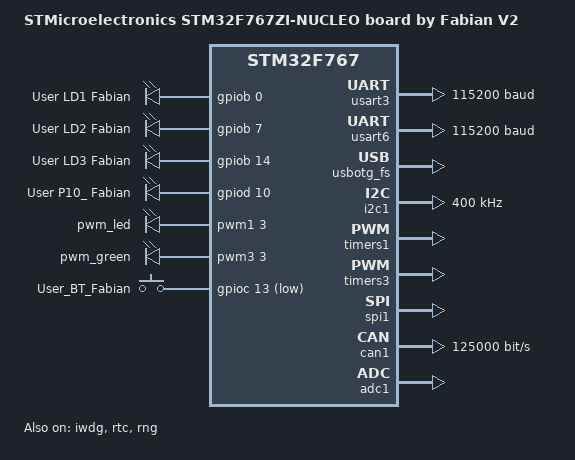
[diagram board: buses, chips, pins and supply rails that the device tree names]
/*
 * Copyright (c) 2019 Roland Ma
 *
 * SPDX-License-Identifier: Apache-2.0
 */

/dts-v1/;
#include <st/f7/stm32f767Xi.dtsi>
#include "arduino_r3_connector.dtsi"

/ {
	model = "STMicroelectronics STM32F767ZI-NUCLEO board by Fabian V2";
	compatible = "st,stm32f767zi-nucleo", "st,stm32f767";

	chosen {
		zephyr,console = &usart3;
		zephyr,shell-uart = &usart3;
		zephyr,sram = &sram0;
		zephyr,flash = &flash0;
		zephyr,dtcm = &dtcm;
		zephyr,can-primary = &can1;
	};

	leds {
		compatible = "gpio-leds";
		green_led: led_0_fabian {
			gpios = <&gpiob 0 GPIO_ACTIVE_HIGH>;
			label = "User LD1 Fabian";
		};
		blue_led: led_1_fabian {
			gpios = <&gpiob 7 GPIO_ACTIVE_HIGH>;
			label = "User LD2 Fabian";
		};
		red_led: led_2_fabian {
			gpios = <&gpiob 14 GPIO_ACTIVE_HIGH>;
			label = "User LD3 Fabian";
		};
		pin_10_mod: pin_10_mod_fab {
			gpios = <&gpiod 10 GPIO_ACTIVE_HIGH>;
			label = "User P10_ Fabian";
		};
	};
	
	pwmleds {
		compatible = "pwm-leds";
		pwm_led: pwm_led_0 {
			pwms = <&pwm1 3 15625000 PWM_POLARITY_NORMAL>;  /* Periferico  PE13 pwm1 ch3, channel, period, polarity */
		};
		pwm_green: pwm_led_1 {
			pwms = <&pwm3 3 15625000 PWM_POLARITY_NORMAL>;  /* Periferico  PB0 pwm3 ch3, channel, period, polarity */
		};
	};

	gpio_keys {
		compatible = "gpio-keys";
		user_button: button_0_fabian {
			label = "User_BT_Fabian";
			gpios = <&gpioc 13 GPIO_ACTIVE_LOW>;
		};
	};
	
	adc1 {
		compatible = "adc-controller";
		user_adc: adc_1_fabian {
			io-channels = <&adc1 1>;
		};		
	};

	aliases {
		led0fabian = &green_led;
		led1fabian = &blue_led;
		led2fabian = &red_led;
		pin10fabian = &pin_10_mod;
		sw0fabian = &user_button;
		pwm1fabian = &pwm_led;
		pwm2fabian = &pwm_green;
		adc1fabian = &adc1;
	};
};

&usart3 {
	current-speed = <115200>;
	status = "okay";
};

&usart6 {
	current-speed = <115200>;
	status = "okay";
};

&usbotg_fs {
	status = "okay";
};

&i2c1 {
	status = "okay";
	clock-frequency = <I2C_BITRATE_FAST>;
};

&timers1 {
	status = "okay";

	pwm1: pwm {
		compatible = "st,stm32-pwm";
		label = "PWM_1";
		status = "okay";	
		#pwm-cells = <3>;
	};
};

&timers3 {
	status = "okay";

	pwm3: pwm {
		compatible = "st,stm32-pwm";
		label = "PWM_3";
		status = "okay";	
		#pwm-cells = <3>;
	};
};

&spi1 {
	/*
	 * WARNING: The pin PA7 will conflict on selection of SPI_1 and
	 *          ETH_STM32_HAL. See pinmux.c for further details.
	 */
	status = "okay";
};

&iwdg {
	status = "okay";
};

&rtc {
	status = "okay";
};

&can1 {
	bus-speed = <125000>;
	sjw = <1>;
	prop-seg = <0>;
	phase-seg1 = <6>;
	phase-seg2 = <5>;
	status = "okay";
};

&adc1 {
	status = "okay";
	
	compatible = "st,stm32-adc";
	label = "ADC_1";
	#io-channel = <0>;
	
};

&rng {
	status = "okay";
};
